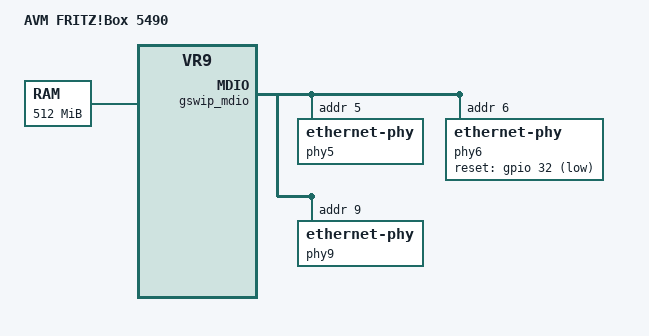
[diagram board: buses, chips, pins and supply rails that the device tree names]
// SPDX-License-Identifier: GPL-2.0-or-later OR MIT

#include "vr9_avm_fritzxx90.dtsi"

/ {
	compatible = "avm,fritz5490", "lantiq,xway", "lantiq,vr9";
	model = "AVM FRITZ!Box 5490";

	memory@0 {
		device_type = "memory";
		reg = <0x0 0x20000000>;
	};
};

&eth0 {
	mtd-mac-address = <&urlader 0xcc>;
	mtd-mac-address-increment = <1>;
};

&gswip_mdio {
	phy0: ethernet-phy@0 {
		status = "disabled";
	};

	phy1: ethernet-phy@1 {
		status = "disabled";
	};

	phy5: ethernet-phy@5 {
		reg = <0x05>;
	};

	phy6: ethernet-phy@6 {
		reg = <0x06>;
		reset-gpios = <&gpio 32 GPIO_ACTIVE_LOW>;
	};

	phy9: ethernet-phy@9 {
		reg = <0x09>;
	};

	phy11: ethernet-phy@11 {
		status = "disabled";
	};

	phy13: ethernet-phy@13 {
		status = "disabled";
	};
};

&gswip_ports {
	port@0 {
		reg = <0>;
		label = "wan";
		phy-mode = "rgmii-rxid";
		phy-handle = <&phy6>;
	};

	port@1 {
		reg = <1>;
		label = "lan3";
		phy-mode = "rgmii";

		fixed-link {
			speed = <1000>;
			full-duplex;
		};
	};

	port@2 {
		reg = <2>;
		label = "lan2";
		phy-mode = "internal";
		phy-handle = <&phy5>;
	};

	port@4 {
		reg = <4>;
		label = "lan1";
		phy-mode = "internal";
		phy-handle = <&phy9>;
	};
};
